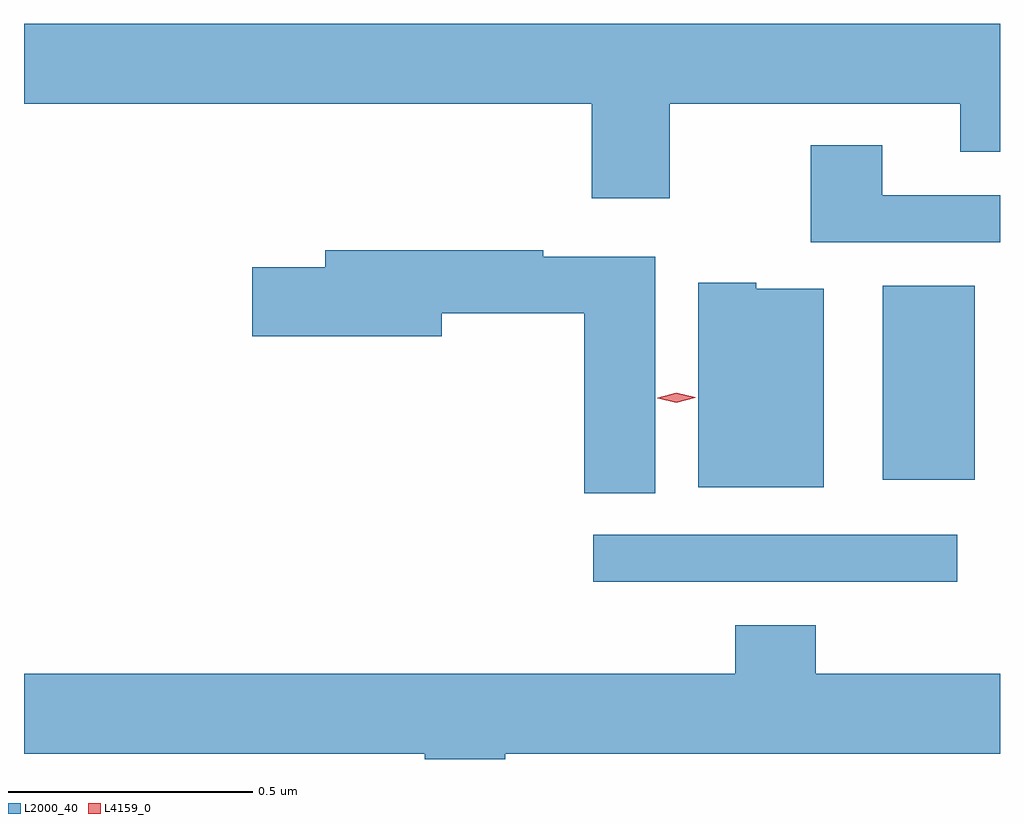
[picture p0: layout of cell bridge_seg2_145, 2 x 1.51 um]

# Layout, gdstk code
import gdstk
lib = gdstk.Library(unit=1e-6, precision=1e-09)
def R(c, l, rs):  # rectangles x0, y0, x1, y1
    for r in rs: c.add(gdstk.rectangle(r[:2], r[2:], *l))
def P(c, l, *ps):  # polygons
    for p in ps: c.add(gdstk.Polygon(p, *l))
L2000_40 = (2000, 40)
L4159_0 = (4159, 0)

bridge_seg2_145 = lib.new_cell('bridge_seg2_145')
R(bridge_seg2_145, L2000_40, [(366.723,659.976,367.468,660.072), (367.316,660.185,367.504,660.583)])
P(bridge_seg2_145, L2000_40, [(366.879,660.956),(367.475,660.956),(367.475,660.857),(367.556,660.857),(367.556,661.12),(365.556,661.12),(365.556,660.956),(366.719,660.956),(366.719,660.762),(366.879,660.762)],
  [(367.556,660.768),(367.315,660.768),(367.315,660.871),(367.168,660.871),(367.168,660.672),(367.556,660.672)],
  [(366.85,660.642),(366.62,660.642),(366.62,660.655),(366.173,660.655),(366.173,660.621),(366.024,660.621),(366.024,660.479),(366.412,660.479),(366.412,660.526),(366.704,660.526),(366.704,660.157),(366.85,660.157)],
  [(367.195,660.577),(367.056,660.577),(367.056,660.589),(366.938,660.589),(366.938,660.17),(367.195,660.17)],
  [(366.542,659.624),(367.556,659.624),(367.556,659.788),(367.178,659.788),(367.178,659.887),(367.013,659.887),(367.013,659.788),(365.556,659.788),(365.556,659.624),(366.377,659.624),(366.377,659.612),(366.542,659.612)])
P(bridge_seg2_145, L4159_0, [(366.893,660.343),(366.855,660.352),(366.854,660.352),(366.855,660.353),(366.893,660.363),(366.931,660.354),(366.931,660.353),(366.931,660.353)])

lib.write_gds('bridge_seg2_145.gds')
